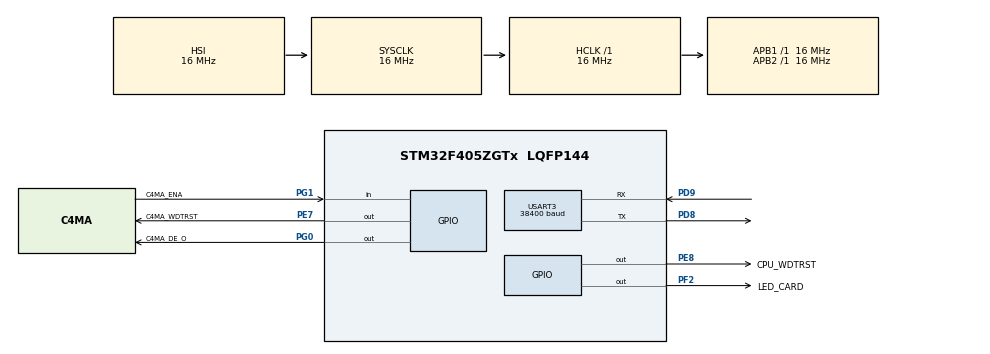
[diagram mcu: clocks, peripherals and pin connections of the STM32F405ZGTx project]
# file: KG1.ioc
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Mcu.Family=STM32F4
Mcu.Name=STM32F405ZGTx
Mcu.Package=LQFP144
NVIC.PriorityGroup=NVIC_PRIORITYGROUP_4
NVIC.USART3_IRQn=true\:0\:0\:false\:false\:true\:true\:true\:true
PC12.Signal=UART5_TX
PD2.Signal=UART5_RX
PD8.Mode=Asynchronous
PD8.Signal=USART3_TX
PD9.Mode=Asynchronous
PD9.Signal=USART3_RX
PE7.GPIO_Label=C4MA_WDTRST
PE7.Signal=GPIO_Output
PE8.GPIO_Label=CPU_WDTRST
PE8.Signal=GPIO_Output
PF2.GPIO_Label=LED_CARD
PF2.Signal=GPIO_Output
PG0.GPIO_Label=C4MA_DE_O
PG0.Signal=GPIO_Output
PG1.GPIO_Label=C4MA_ENA
PG1.Signal=GPIO_Input
PH0-OSC_IN.Mode=HSE-External-Oscillator
PH0-OSC_IN.Signal=RCC_OSC_IN
PH1-OSC_OUT.Mode=HSE-External-Oscillator
PH1-OSC_OUT.Signal=RCC_OSC_OUT
ProjectManager.HeapSize=0x200
ProjectManager.StackSize=0x400
ProjectManager.TargetToolchain=STM32CubeIDE
RCC.48MHZClocksFreq_Value=75000000
RCC.AHBFreq_Value=16000000
RCC.APB1Freq_Value=16000000
RCC.APB2Freq_Value=16000000
RCC.CortexFreq_Value=16000000
RCC.HSE_VALUE=25000000
RCC.HSI_VALUE=16000000
RCC.LSE_VALUE=32768
RCC.PLLSourceVirtual=RCC_PLLSOURCE_HSE
RCC.SYSCLKFreq_VALUE=16000000
RCC.VCOOutputFreq_Value=300000000
USART3.BaudRate=38400
USART3.VirtualMode=VM_ASYNC
board=custom

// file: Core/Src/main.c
/* USER CODE BEGIN Header */
/**
  ******************************************************************************
  * @file           : main.c
  * @brief          : Main program body
  ******************************************************************************
  * @attention
  *
  * Copyright (c) 2022 STMicroelectronics.
  * All rights reserved.
  *
  * This software is licensed under terms that can be found in the LICENSE file
  * in the root directory of this software component.
  * If no LICENSE file comes with this software, it is provided AS-IS.
  *
  ******************************************************************************
  */
/* USER CODE END Header */
#include "main.h"
#include "usart.h"
#include "gpio.h"

void SystemClock_Config(void);

/* USER CODE BEGIN 0 */

uint8_t mRXBuf[2];            // bufor do odbioru przez HW UART
uint16_t gLedCnt = 0;
uint8_t data[3];

//----------------------------------------------------------------------------
void HAL_UART_TxCpltCallback( UART_HandleTypeDef *huart ){
  //__disable_irq();
  // if( huart == g485E.mhUart   )  g485E.onIT_TX();
  // if( huart == gST7580.mhUart )  gST7580.onIT_TX();
 // __enable_irq();
 }//----------------------------------------------------------------------------

//----------------------------------------------------------------------------
void HAL_UART_RxCpltCallback(UART_HandleTypeDef *huart ) {
 // __disable_irq();
 // if( huart == g485E.mhUart   )  g485E.onIT_RX();
 // if( huart == gST7580.mhUart )  gST7580.onIT_RX();
//  __enable_irq();

	//HAL_GPIO_TogglePin( GPIOF, GPIO_PIN_2 );  // LED

    HAL_UART_Receive_IT( &huart3, mRXBuf, 1 );

}//----------------------------------------------------------------------------

uint8_t gIsTimerMain_250ms = 0;

void HAL_SYSTICK_Callback(void){

    HAL_GPIO_WritePin( GPIOE, GPIO_PIN_7, 1 );    // 4MA_WDTRST
    HAL_GPIO_TogglePin( GPIOE, GPIO_PIN_8 ); // CPU_WDTRST

      // --- LED -------------
    gLedCnt += 1;
    if( gLedCnt == 250 ){
      gLedCnt = 0;
      gIsTimerMain_250ms = 1;
    }

 }//----------------------------------------------------------------------------

/* USER CODE END 0 */

int main(void)
{

  /* MCU Configuration--------------------------------------------------------*/

  /* Reset of all peripherals, Initializes the Flash interface and the Systick. */
  HAL_Init();

  /* Configure the system clock */
  SystemClock_Config();

  /* Initialize all configured peripherals */
  MX_GPIO_Init();
  MX_USART3_UART_Init();
  /* USER CODE BEGIN 2 */
  HAL_GPIO_WritePin( GPIOE, GPIO_PIN_7, 1 );    // 4MA_WDTRST
  HAL_GPIO_WritePin( GPIOG, GPIO_PIN_0, 1 );    // MA4_D_DE

  data[0] = 0xAA;
  data[1] = 0x02;
  data[2] = 0x04;

  /* USER CODE END 2 */

  /* Infinite loop */
  /* USER CODE BEGIN WHILE */
  __enable_irq();

  HAL_UART_Receive_IT( &huart3, mRXBuf, 1 );

  while (1)
  {
//	  HAL_GPIO_TogglePin(GPIOF, GPIO_PIN_2);
//	  HAL_Delay( 250 );
	 // HAL_GPIO_WritePin( GPIOG, GPIO_PIN_0, 0 );    // MA4_D_DE
	  if( gIsTimerMain_250ms != 0 ){
	       gIsTimerMain_250ms = 0;
	      // HAL_StatusTypeDef uartRes =
	       HAL_UART_Transmit_IT( &huart3, data, 3 );
	       //HAL_UART_Transmit( &huart3, data, 3, 0xffff );
	       HAL_GPIO_TogglePin( GPIOF, GPIO_PIN_2 );  // LED
	       //HAL_GPIO_TogglePin( GPIOD, GPIO_PIN_8 );  // TX
//	       HAL_Delay( 3 );

	     }else{
//	        HAL_Delay( 5 );
	     }

	  HAL_Delay( 1 );

    /* USER CODE END WHILE */

  }
}

void SystemClock_Config(void)
{
  RCC_OscInitTypeDef RCC_OscInitStruct = {0};
  RCC_ClkInitTypeDef RCC_ClkInitStruct = {0};

  /** Configure the main internal regulator output voltage
  */
  __HAL_RCC_PWR_CLK_ENABLE();
  __HAL_PWR_VOLTAGESCALING_CONFIG(PWR_REGULATOR_VOLTAGE_SCALE1);

  /** Initializes the RCC Oscillators according to the specified parameters
  * in the RCC_OscInitTypeDef structure.
  */
  RCC_OscInitStruct.OscillatorType = RCC_OSCILLATORTYPE_HSI;
  RCC_OscInitStruct.HSIState = RCC_HSI_ON;
  RCC_OscInitStruct.HSICalibrationValue = RCC_HSICALIBRATION_DEFAULT;
  RCC_OscInitStruct.PLL.PLLState = RCC_PLL_NONE;
  if (HAL_RCC_OscConfig(&RCC_OscInitStruct) != HAL_OK)
  {
    Error_Handler();
  }

  /** Initializes the CPU, AHB and APB buses clocks
  */
  RCC_ClkInitStruct.ClockType = RCC_CLOCKTYPE_HCLK|RCC_CLOCKTYPE_SYSCLK
                              |RCC_CLOCKTYPE_PCLK1|RCC_CLOCKTYPE_PCLK2;
  RCC_ClkInitStruct.SYSCLKSource = RCC_SYSCLKSOURCE_HSI;
  RCC_ClkInitStruct.AHBCLKDivider = RCC_SYSCLK_DIV1;
  RCC_ClkInitStruct.APB1CLKDivider = RCC_HCLK_DIV1;
  RCC_ClkInitStruct.APB2CLKDivider = RCC_HCLK_DIV1;

  if (HAL_RCC_ClockConfig(&RCC_ClkInitStruct, FLASH_LATENCY_0) != HAL_OK)
  {
    Error_Handler();
  }
}

void Error_Handler(void)
{
  __disable_irq();
  while (1)
  {
  }
}
